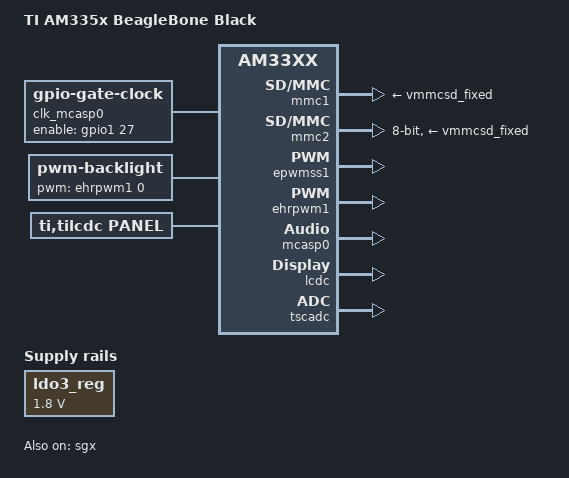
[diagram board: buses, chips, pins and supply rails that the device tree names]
/*
 * Copyright (C) 2012 Texas Instruments Incorporated - http://www.ti.com/
 *
 * This program is free software; you can redistribute it and/or modify
 * it under the terms of the GNU General Public License version 2 as
 * published by the Free Software Foundation.
 */
/dts-v1/;

#include "am33xx.dtsi"
#include "am335x-bone-common.dtsi"
#include <dt-bindings/display/tda998x.h>

/ {
	model = "TI AM335x BeagleBone Black";
	compatible = "ti,am335x-bone-black", "ti,am335x-bone", "ti,am33xx";
};

&ldo3_reg {
	regulator-min-microvolt = <1800000>;
	regulator-max-microvolt = <1800000>;
	regulator-always-on;
};

&mmc1 {
	vmmc-supply = <&vmmcsd_fixed>;
};

&mmc2 {
	vmmc-supply = <&vmmcsd_fixed>;
	pinctrl-names = "default";
	pinctrl-0 = <&emmc_pins>;
	bus-width = <8>;
	status = "okay";
};

&cpu0_opp_table {
	/*
	 * All PG 2.0 silicon may not support 1GHz but some of the early
	 * BeagleBone Blacks have PG 2.0 silicon which is guaranteed
	 * to support 1GHz OPP so enable it for PG 2.0 on this board.
	 */
	oppnitro@1000000000 {
		opp-supported-hw = <0x06 0x0100>;
	};
};

&am33xx_pinmux {
	nxp_hdmi_bonelt_pins: nxp_hdmi_bonelt_pins {
		pinctrl-single,pins = <
			0x1b0 0x03      /* xdma_event_intr0, OMAP_MUX_MODE3 | AM33XX_PIN_OUTPUT */
			0xa0 0x08       /* lcd_data0.lcd_data0, OMAP_MUX_MODE0 | AM33XX_PIN_OUTPUT | AM33XX_PULL_DISA */
			0xa4 0x08       /* lcd_data1.lcd_data1, OMAP_MUX_MODE0 | AM33XX_PIN_OUTPUT | AM33XX_PULL_DISA */
			0xa8 0x08       /* lcd_data2.lcd_data2, OMAP_MUX_MODE0 | AM33XX_PIN_OUTPUT | AM33XX_PULL_DISA */
			0xac 0x08       /* lcd_data3.lcd_data3, OMAP_MUX_MODE0 | AM33XX_PIN_OUTPUT | AM33XX_PULL_DISA */
			0xb0 0x08       /* lcd_data4.lcd_data4, OMAP_MUX_MODE0 | AM33XX_PIN_OUTPUT | AM33XX_PULL_DISA */
			0xb4 0x08       /* lcd_data5.lcd_data5, OMAP_MUX_MODE0 | AM33XX_PIN_OUTPUT | AM33XX_PULL_DISA */
			0xb8 0x08       /* lcd_data6.lcd_data6, OMAP_MUX_MODE0 | AM33XX_PIN_OUTPUT | AM33XX_PULL_DISA */
			0xbc 0x08       /* lcd_data7.lcd_data7, OMAP_MUX_MODE0 | AM33XX_PIN_OUTPUT | AM33XX_PULL_DISA */
			0xc0 0x08       /* lcd_data8.lcd_data8, OMAP_MUX_MODE0 | AM33XX_PIN_OUTPUT | AM33XX_PULL_DISA */
			0xc4 0x08       /* lcd_data9.lcd_data9, OMAP_MUX_MODE0 | AM33XX_PIN_OUTPUT | AM33XX_PULL_DISA */
			0xc8 0x08       /* lcd_data10.lcd_data10, OMAP_MUX_MODE0 | AM33XX_PIN_OUTPUT | AM33XX_PULL_DISA */
			0xcc 0x08       /* lcd_data11.lcd_data11, OMAP_MUX_MODE0 | AM33XX_PIN_OUTPUT | AM33XX_PULL_DISA */
			0xd0 0x08       /* lcd_data12.lcd_data12, OMAP_MUX_MODE0 | AM33XX_PIN_OUTPUT | AM33XX_PULL_DISA */
			0xd4 0x08       /* lcd_data13.lcd_data13, OMAP_MUX_MODE0 | AM33XX_PIN_OUTPUT | AM33XX_PULL_DISA */
			0xd8 0x08       /* lcd_data14.lcd_data14, OMAP_MUX_MODE0 | AM33XX_PIN_OUTPUT | AM33XX_PULL_DISA */
			0xdc 0x08       /* lcd_data15.lcd_data15, OMAP_MUX_MODE0 | AM33XX_PIN_OUTPUT | AM33XX_PULL_DISA */
			0xe0 0x00       /* lcd_vsync.lcd_vsync, OMAP_MUX_MODE0 | AM33XX_PIN_OUTPUT */
			0xe4 0x00       /* lcd_hsync.lcd_hsync, OMAP_MUX_MODE0 | AM33XX_PIN_OUTPUT */
			0xe8 0x00       /* lcd_pclk.lcd_pclk, OMAP_MUX_MODE0 | AM33XX_PIN_OUTPUT */
			0xec 0x00       /* lcd_ac_bias_en.lcd_ac_bias_en, OMAP_MUX_MODE0 | AM33XX_PIN_OUTPUT */
		>;
	};

	nxp_hdmi_bonelt_off_pins: nxp_hdmi_bonelt_off_pins {
		pinctrl-single,pins = <
			0x1b0 0x03      /* xdma_event_intr0, OMAP_MUX_MODE3 | AM33XX_PIN_OUTPUT */
		>;
	};

	mcasp0_pins: mcasp0_pins {
		pinctrl-single,pins = <
			AM33XX_IOPAD(0x9ac, PIN_INPUT_PULLUP | MUX_MODE0) /* mcasp0_ahcklx.mcasp0_ahclkx */
			AM33XX_IOPAD(0x99c, PIN_OUTPUT_PULLDOWN | MUX_MODE2) /* mcasp0_ahclkr.mcasp0_axr2*/
			AM33XX_IOPAD(0x994, PIN_OUTPUT_PULLUP | MUX_MODE0) /* mcasp0_fsx.mcasp0_fsx */
			AM33XX_IOPAD(0x990, PIN_OUTPUT_PULLDOWN | MUX_MODE0) /* mcasp0_aclkx.mcasp0_aclkx */
			AM33XX_IOPAD(0x86c, PIN_OUTPUT_PULLDOWN | MUX_MODE7) /* gpmc_a11.GPIO1_27 */
		>;
	};

	bone_lcd4_cape_lcd_pins: pinmux_bone_lcd4_cape_lcd_pins {
		pinctrl-single,pins = <
//     			0xa0 0x08	/* lcd_data0.lcd_data0, OMAP_MUX_MODE0 | AM33XX_PIN_OUTPUT | AM33XX_PULL_DISA */
//			0xa4 0x08	/* lcd_data1.lcd_data1, OMAP_MUX_MODE0 | AM33XX_PIN_OUTPUT | AM33XX_PULL_DISA */
//			0xa8 0x08	/* lcd_data2.lcd_data2, OMAP_MUX_MODE0 | AM33XX_PIN_OUTPUT | AM33XX_PULL_DISA */
//			0xac 0x08	/* lcd_data3.lcd_data3, OMAP_MUX_MODE0 | AM33XX_PIN_OUTPUT | AM33XX_PULL_DISA */
//			0xb0 0x08	/* lcd_data4.lcd_data4, OMAP_MUX_MODE0 | AM33XX_PIN_OUTPUT | AM33XX_PULL_DISA */
//			0xb4 0x08	/* lcd_data5.lcd_data5, OMAP_MUX_MODE0 | AM33XX_PIN_OUTPUT | AM33XX_PULL_DISA */
//			0xb8 0x08	/* lcd_data6.lcd_data6, OMAP_MUX_MODE0 | AM33XX_PIN_OUTPUT | AM33XX_PULL_DISA */
//			0xbc 0x08	/* lcd_data7.lcd_data7, OMAP_MUX_MODE0 | AM33XX_PIN_OUTPUT | AM33XX_PULL_DISA */
//			0xc0 0x08	/* lcd_data8.lcd_data8, OMAP_MUX_MODE0 | AM33XX_PIN_OUTPUT | AM33XX_PULL_DISA */
//			0xc4 0x08	/* lcd_data9.lcd_data9, OMAP_MUX_MODE0 | AM33XX_PIN_OUTPUT | AM33XX_PULL_DISA */
//			0xc8 0x08	/* lcd_data10.lcd_data10, OMAP_MUX_MODE0 | AM33XX_PIN_OUTPUT | AM33XX_PULL_DISA */
//			0xcc 0x08	/* lcd_data11.lcd_data11, OMAP_MUX_MODE0 | AM33XX_PIN_OUTPUT | AM33XX_PULL_DISA */
//			0xd0 0x08	/* lcd_data12.lcd_data12, OMAP_MUX_MODE0 | AM33XX_PIN_OUTPUT | AM33XX_PULL_DISA */
//			0xd4 0x08	/* lcd_data13.lcd_data13, OMAP_MUX_MODE0 | AM33XX_PIN_OUTPUT | AM33XX_PULL_DISA */
//			0xd8 0x08	/* lcd_data14.lcd_data14, OMAP_MUX_MODE0 | AM33XX_PIN_OUTPUT | AM33XX_PULL_DISA */
//			0xdc 0x08	/* lcd_data15.lcd_data15, OMAP_MUX_MODE0 | AM33XX_PIN_OUTPUT | AM33XX_PULL_DISA */
//			0xe0 0x00	/* lcd_vsync.lcd_vsync, OMAP_MUX_MODE0 | AM33XX_PIN_OUTPUT */
//			0xe4 0x00	/* lcd_hsync.lcd_hsync, OMAP_MUX_MODE0 | AM33XX_PIN_OUTPUT */
//			0xe8 0x00	/* lcd_pclk.lcd_pclk, OMAP_MUX_MODE0 | AM33XX_PIN_OUTPUT */
//			0xec 0x00	/* lcd_ac_bias_en.lcd_ac_bias_en, OMAP_MUX_MODE0 | AM33XX_PIN_OUTPUT */
//		 	0x4c 0x27      /* TSC_INT gpmc_a3.gpio1_19, INPUT | MODE7 */
		>;
	};

	lcd_pins_default: lcd_pins_default {
		pinctrl-single,pins = <
			0x20 (PIN_OUTPUT | MUX_MODE1)	/* gpmc_ad8.lcd_data23 */
			0x24 (PIN_OUTPUT | MUX_MODE1)	/* gpmc_ad9.lcd_data22 */
			0x28 (PIN_OUTPUT | MUX_MODE1)	/* gpmc_ad10.lcd_data21 */
			0x2c (PIN_OUTPUT | MUX_MODE1)	/* gpmc_ad11.lcd_data20 */
			0x30 (PIN_OUTPUT | MUX_MODE1)	/* gpmc_ad12.lcd_data19 */
			0x34 (PIN_OUTPUT | MUX_MODE1)	/* gpmc_ad13.lcd_data18 */
			0x38 (PIN_OUTPUT | MUX_MODE1)	/* gpmc_ad14.lcd_data17 */
			0x3c (PIN_OUTPUT | MUX_MODE1)	/* gpmc_ad15.lcd_data16 */
		 	0xa0 (PIN_OUTPUT | MUX_MODE0)	/* lcd_data0.lcd_data0 */
			0xa4 (PIN_OUTPUT | MUX_MODE0)	/* lcd_data1.lcd_data1 */
			0xa8 (PIN_OUTPUT | MUX_MODE0)	/* lcd_data2.lcd_data2 */
			0xac (PIN_OUTPUT | MUX_MODE0)	/* lcd_data3.lcd_data3 */
			0xb0 (PIN_OUTPUT | MUX_MODE0)	/* lcd_data4.lcd_data4 */
			0xb4 (PIN_OUTPUT | MUX_MODE0)	/* lcd_data5.lcd_data5 */
			0xb8 (PIN_OUTPUT | MUX_MODE0)	/* lcd_data6.lcd_data6 */
			0xbc (PIN_OUTPUT | MUX_MODE0)	/* lcd_data7.lcd_data7 */
			0xc0 (PIN_OUTPUT | MUX_MODE0)	/* lcd_data8.lcd_data8 */
			0xc4 (PIN_OUTPUT | MUX_MODE0)	/* lcd_data9.lcd_data9 */
			0xc8 (PIN_OUTPUT | MUX_MODE0)	/* lcd_data10.lcd_data10 */
			0xcc (PIN_OUTPUT | MUX_MODE0)	/* lcd_data11.lcd_data11 */
			0xd0 (PIN_OUTPUT | MUX_MODE0)	/* lcd_data12.lcd_data12 */
			0xd4 (PIN_OUTPUT | MUX_MODE0)	/* lcd_data13.lcd_data13 */
			0xd8 (PIN_OUTPUT | MUX_MODE0)	/* lcd_data14.lcd_data14 */
			0xdc (PIN_OUTPUT | MUX_MODE0)	/* lcd_data15.lcd_data15 */
			0xe0 (PIN_OUTPUT | MUX_MODE0)	/* lcd_vsync.lcd_vsync */
			0xe4 (PIN_OUTPUT | MUX_MODE0)	/* lcd_hsync.lcd_hsync */
			0xe8 (PIN_OUTPUT | MUX_MODE0)	/* lcd_pclk.lcd_pclk */
			0xec (PIN_OUTPUT | MUX_MODE0)	/* lcd_ac_bias_en.lcd_ac_bias_en */
		>;
	};

	lcd_pins_sleep: lcd_pins_sleep {
		pinctrl-single,pins = <
			0x20 (PIN_INPUT_PULLDOWN | MUX_MODE7)	/* gpmc_ad8.lcd_data23 */
			0x24 (PIN_INPUT_PULLDOWN | MUX_MODE7)	/* gpmc_ad9.lcd_data22 */
			0x28 (PIN_INPUT_PULLDOWN | MUX_MODE7)	/* gpmc_ad10.lcd_data21 */
			0x2c (PIN_INPUT_PULLDOWN | MUX_MODE7)	/* gpmc_ad11.lcd_data20 */
			0x30 (PIN_INPUT_PULLDOWN | MUX_MODE7)	/* gpmc_ad12.lcd_data19 */
			0x34 (PIN_INPUT_PULLDOWN | MUX_MODE7)	/* gpmc_ad13.lcd_data18 */
			0x38 (PIN_INPUT_PULLDOWN | MUX_MODE7)	/* gpmc_ad14.lcd_data17 */
			0x3c (PIN_INPUT_PULLDOWN | MUX_MODE7)	/* gpmc_ad15.lcd_data16 */
			0xa0 (PULL_DISABLE | MUX_MODE7)	/* lcd_data0.lcd_data0 */
			0xa4 (PULL_DISABLE | MUX_MODE7)	/* lcd_data1.lcd_data1 */
			0xa8 (PULL_DISABLE | MUX_MODE7)	/* lcd_data2.lcd_data2 */
			0xac (PULL_DISABLE | MUX_MODE7)	/* lcd_data3.lcd_data3 */
			0xb0 (PULL_DISABLE | MUX_MODE7)	/* lcd_data4.lcd_data4 */
			0xb4 (PULL_DISABLE | MUX_MODE7)	/* lcd_data5.lcd_data5 */
			0xb8 (PULL_DISABLE | MUX_MODE7)	/* lcd_data6.lcd_data6 */
			0xbc (PULL_DISABLE | MUX_MODE7)	/* lcd_data7.lcd_data7 */
			0xc0 (PULL_DISABLE | MUX_MODE7)	/* lcd_data8.lcd_data8 */
			0xc4 (PULL_DISABLE | MUX_MODE7)	/* lcd_data9.lcd_data9 */
			0xc8 (PULL_DISABLE | MUX_MODE7)	/* lcd_data10.lcd_data10 */
			0xcc (PULL_DISABLE | MUX_MODE7)	/* lcd_data11.lcd_data11 */
			0xd0 (PULL_DISABLE | MUX_MODE7)	/* lcd_data12.lcd_data12 */
			0xd4 (PULL_DISABLE | MUX_MODE7)	/* lcd_data13.lcd_data13 */
			0xd8 (PULL_DISABLE | MUX_MODE7)	/* lcd_data14.lcd_data14 */
			0xdc (PULL_DISABLE | MUX_MODE7)	/* lcd_data15.lcd_data15 */
			0xe0 (PIN_INPUT_PULLDOWN | MUX_MODE7)	/* lcd_vsync.lcd_vsync */
			0xe4 (PIN_INPUT_PULLDOWN | MUX_MODE7)	/* lcd_hsync.lcd_hsync */
			0xe8 (PIN_INPUT_PULLDOWN | MUX_MODE7)	/* lcd_pclk.lcd_pclk */
			0xec (PIN_INPUT_PULLDOWN | MUX_MODE7)	/* lcd_ac_bias_en.lcd_ac_bias_en */
		>;
	};

	
	pwm_bl_pins: pinmux_pwm_bl_pins {
		pinctrl-single,pins = <
			0x48 0x06       /* gpmc_a2.ehrpwm1a, OMAP_MUX_MODE6 | AM33XX_PIN_OUTPUT */
			>;
	};	
};

/*
&lcdc {
	status = "okay";
	port {
		lcdc_0: endpoint@0 {
			remote-endpoint = <&hdmi_0>;
		};
	};
};*/



&rtc {
	system-power-controller;
};

&epwmss1 {
	status = "okay";
};

&ehrpwm1 {
	status = "okay";
};


&mcasp0	{
	#sound-dai-cells = <0>;
	pinctrl-names = "default";
	pinctrl-0 = <&mcasp0_pins>;
	status = "okay";
	op-mode = <0>;	/* MCASP_IIS_MODE */
	tdm-slots = <2>;
	serial-dir = <	/* 0: INACTIVE, 1: TX, 2: RX */
			0 0 1 0
		>;
	tx-num-evt = <32>;
	rx-num-evt = <32>;
};

&sgx {
	status = "okay";
};

/ {
	clk_mcasp0_fixed: clk_mcasp0_fixed {
		#clock-cells = <0>;
		compatible = "fixed-clock";
		clock-frequency = <24576000>;
	};

	clk_mcasp0: clk_mcasp0 {
		#clock-cells = <0>;
		compatible = "gpio-gate-clock";
		clocks = <&clk_mcasp0_fixed>;
		enable-gpios = <&gpio1 27 0>; /* BeagleBone Black Clk enable on GPIO1_27 */
	};

	sound {
		compatible = "simple-audio-card";
		simple-audio-card,name = "TI BeagleBone Black";
		simple-audio-card,format = "i2s";
		simple-audio-card,bitclock-master = <&dailink0_master>;
		simple-audio-card,frame-master = <&dailink0_master>;

		dailink0_master: simple-audio-card,cpu {
			sound-dai = <&mcasp0>;
			clocks = <&clk_mcasp0>;
		};

/*		simple-audio-card,codec {
			sound-dai = <&tda19988>;
		};*/
	};

	/**4.3 lcd backlight contorl */

	backlight {
		compatible      = "pwm-backlight";
		pinctrl-names   = "default";
		pinctrl-0       = <&pwm_bl_pins>;
		pwms = <&ehrpwm1 0 500000 0>;
		pwm-names = "LCD4";
		brightness-levels = <0 58 61 66 75 90 125 170 255>;
		default-brightness-level = <8>;
		status = "okay";
	};
	
	
	panel {
		compatible = "ti,tilcdc,panel";
		pinctrl-names = "default", "sleep";
		pinctrl-0 = <&lcd_pins_default>;
		pinctrl-1 = <&lcd_pins_sleep>;
		status = "okay";
		panel-info {
			ac-bias           = <255>;
			ac-bias-intrpt    = <0>;
			dma-burst-sz      = <16>;
			bpp               = <32>;
			fdd               = <0x80>;
			sync-edge         = <0>;
			sync-ctrl         = <1>;
			raster-order      = <0>;
			fifo-th           = <0>;
		};
		display-timings {
			480x272 {
				hactive         = <480>;
				vactive         = <272>;
				hback-porch     = <43>;
				hfront-porch    = <8>;
				hsync-len       = <4>;
				vback-porch     = <12>;
				vfront-porch    = <4>;
				vsync-len       = <10>;
				clock-frequency = <9000000>;
				hsync-active    = <0>;
				vsync-active    = <0>;
			};
		};
	};

/*		panel-info {
			ac-bias		= <255>;
			ac-bias-intrpt	= <0>;
			dma-burst-sz	= <16>;
			bpp		= <16>;
			fdd		= <0x80>;
			sync-edge	= <0>;
			sync-ctrl	= <1>;
			raster-order	= <0>;
			fifo-th		= <0>;
		};
		display-timings {
			480x272 {
				hactive         = <480>;
				vactive         = <272>;
				hback-porch     = <44>;
				hfront-porch    = <9>;
				hsync-len       = <5>;
				vback-porch     = <13>;
				vfront-porch    = <4>;
				vsync-len       = <10>;
				clock-frequency = <8000000>;//9000000
				hsync-active    = <0>;//0
				vsync-active    = <0>;//0
				hactive		= <480>;
				vactive		= <272>;
				hback-porch	= <43>;
				hfront-porch	= <8>;
				hsync-len	= <4>;
				vback-porch	= <12>;
				vfront-porch	= <4>;
				vsync-len	= <10>;
				clock-frequency = <9000000>;
				hsync-active	= <0>;
				vsync-active	= <0>;

			};
		};
	};	
*/
	/* Embest 4.3 inch LCD cape: */
/*	panel {
		compatible = "tilcdc,panel";
		pinctrl-names = "default";
		pinctrl-0 = <&bone_lcd4_cape_lcd_pins>;
		panel-info {
			ac-bias           = <255>;
			ac-bias-intrpt    = <0>;
			dma-burst-sz      = <16>;
			bpp               = <32>;
			fdd               = <0x80>;
			tft-alt-mode      = <0>;
			stn-565-mode      = <0>;
			mono-8bit-mode    = <0>;
			sync-edge         = <0>;
			sync-ctrl         = <1>;
			raster-order      = <0>;
			fifo-th           = <0>;
		};
		display-timings {
			native-mode = <&timing0>;
			timing0: 480x272 {
				hactive         = <480>;
				vactive         = <272>;
				hback-porch     = <44>;
				hfront-porch    = <9>;
				hsync-len       = <5>;
				vback-porch     = <13>;
				vfront-porch    = <4>;
				vsync-len       = <10>;
				clock-frequency = <20000000>;//9000000
				hsync-active    = <0>;//0
				vsync-active    = <0>;//0
			};
		};

	};

	fb {
		compatible = "ti,am33xx-tilcdc";
		reg = <0x4830e000 0x1000>;
		interrupt-parent = <&intc>;
		interrupts = <36>;
		ti,hwmods = "lcdc";
	};
*/

};

&lcdc {
	status = "okay";
//  blue-and-red-wrring = "straight";
	blue-and-red-wiring = "crossed";
};


&tscadc {
	status = "okay";
	
	tsc {
		ti,wires = <4>;
		ti,x-plate-resistance = <200>;
		ti,coordinate-readouts = <5>;
		ti,touch-type = <1>;
 		ti,charge-delay = <0x800>;
		ti,wire-config = <0x00 0x11 0x22 0x33>;
	};

	adc {
		ti,adc-channels = <4 5 6 7>;
	};
};

